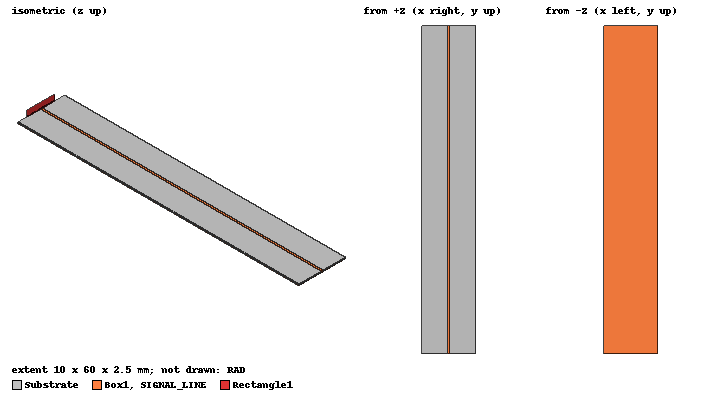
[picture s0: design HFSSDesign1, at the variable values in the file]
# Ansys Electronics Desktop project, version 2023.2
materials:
  vacuum: permittivity=1
  copper: permeability=0.999991 conductivity=58000000
  FR4_epoxy: permittivity=4.4 dielectric_loss_tangent=0.02

design HFSSDesign1 (HFSS, HFSS Modal Network, model units mm)
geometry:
  Substrate [FR4_epoxy] = box(corner=(5mm, 0mm, 0.032mm), size=(10mm, 60mm, 0.2mm))
  SIGNAL_LINE [copper] = box(corner=(9.83mm, 0mm, 0.232mm), size=(0.34mm, 60mm, 0.055mm))
  RAD [vacuum] = box(corner=(5mm, 0mm, -2mm), size=(10mm, 60mm, 5mm))
  Box1 [copper] = box(corner=(15mm, 0mm, 0.032mm), size=(-10mm, 60mm, -0.032mm))
  Rectangle1 = rectangle(corner=(13mm, 0mm, 1.5mm), z_size=-2.5mm, x_size=-6mm)
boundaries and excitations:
  PerfE1: Perfect E Objects=SIGNAL_LINE
  Rad1: Radiation Objects=RAD
  PerfE2: Perfect E Objects=Box1
  1: Wave Port Objects=Rectangle1 WavePortType=Default NumModes=1 Modes{Mode1{IntLine{(10, 0, 0.287) -> (10, 0, 0)} CharImp=Zpi}}
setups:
  Setup1: HfssDrivenAuto AutoSolverSetting=Balanced SaveAnyFields=false Type=Interpolating
    sweep Sweep: 0GHz to 10GHz, 501 points;
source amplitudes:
  1:1: 1W 0deg
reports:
  Port Zo Plot 1: mag(Zo(1)), mag(Zo(1)), mag(Zo(1)), mag(Zo(1)) vs Freq on Setup1 : Sweep
